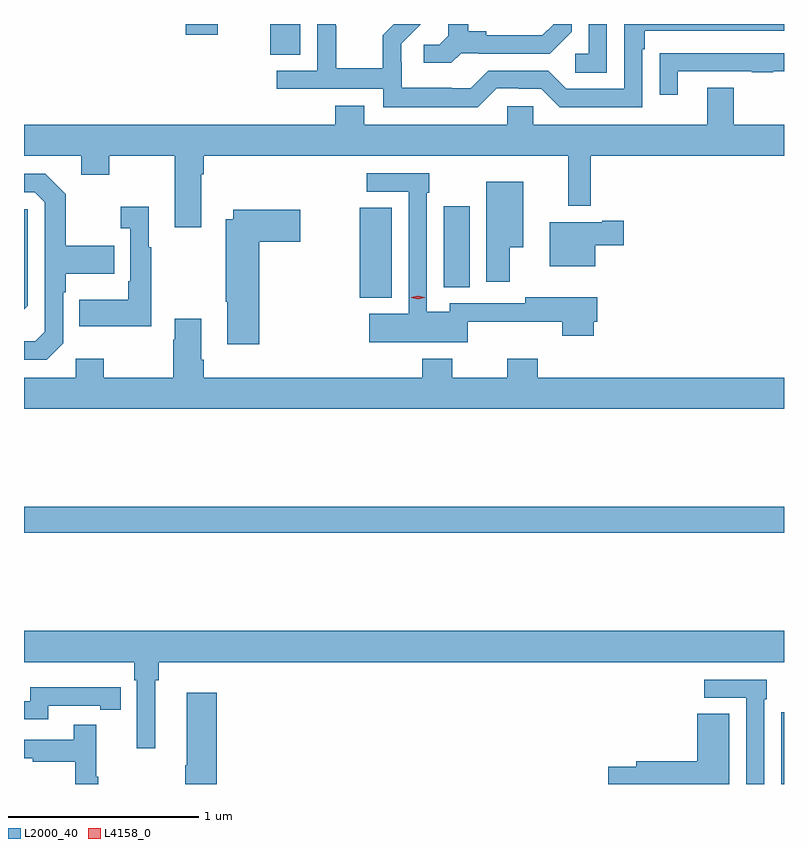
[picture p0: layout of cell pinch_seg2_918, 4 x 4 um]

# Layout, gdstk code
import gdstk
lib = gdstk.Library(unit=1e-6, precision=1e-09)
def R(c, l, rs):  # rectangles x0, y0, x1, y1
    for r in rs: c.add(gdstk.rectangle(r[:2], r[2:], *l))
def P(c, l, *ps):  # polygons
    for p in ps: c.add(gdstk.Polygon(p, *l))
L2000_40 = (2000, 40)
L4158_0 = (4158, 0)

pinch_seg2_918 = lib.new_cell('pinch_seg2_918')
R(pinch_seg2_918, L2000_40, [(267.257,660.314,267.272,660.691), (263.272,661.636,267.272,661.772), (265.04,662.873,265.207,663.347), (265.481,662.929,265.618,663.355), (264.569,664.153,264.727,664.314), (264.122,664.257,264.292,664.314)])
P(pinch_seg2_918, L2000_40, [(265.572,664.161),(265.666,664.161),(265.666,664.158),(266.038,664.158),(266.154,664.274),(266.154,664.314),(266.057,664.314),(266.057,664.311),(266,664.254),(265.705,664.254),(265.705,664.277),(265.609,664.277),(265.609,664.314),(265.505,664.314),(265.505,664.253),(265.458,664.206),(265.377,664.206),(265.377,664.109),(265.52,664.109)],
  [(266.34,664.314),(266.244,664.314),(266.244,664.158),(266.172,664.158),(266.172,664.057),(266.34,664.057)],
  [(265.761,663.975),(265.877,663.975),(265.877,663.972),(265.995,663.972),(266.091,663.876),(266.526,663.876),(266.526,664.181),(266.539,664.181),(266.539,664.278),(267.272,664.278),(267.272,664.314),(266.43,664.314),(266.43,663.972),(266.127,663.972),(266.031,664.068),(265.716,664.068),(265.623,663.975),(265.523,663.975),(265.523,663.979),(265.26,663.979),(265.26,664.113),(265.258,664.113),(265.258,664.21),(265.332,664.284),(265.331,664.285),(265.36,664.314),(265.218,664.314),(265.159,664.255),(265.159,664.081),(264.915,664.081),(264.915,664.304),(264.912,664.304),(264.912,664.314),(264.816,664.314),(264.816,664.068),(264.603,664.068),(264.603,663.972),(265.164,663.972),(265.164,663.875),(265.661,663.875)],
  [(266.713,664.065),(267.103,664.065),(267.103,664.06),(267.215,664.06),(267.215,664.065),(267.272,664.065),(267.272,664.161),(266.719,664.161),(266.719,664.16),(266.617,664.16),(266.617,663.942),(266.713,663.942)],
  [(265.953,663.882),(265.815,663.882),(265.815,663.784),(265.063,663.784),(265.063,663.883),(264.911,663.883),(264.911,663.784),(263.272,663.784),(263.272,663.62),(263.573,663.62),(263.573,663.521),(263.721,663.521),(263.721,663.62),(264.065,663.62),(264.065,663.243),(264.205,663.243),(264.205,663.524),(264.218,663.524),(264.218,663.62),(266.137,663.62),(266.137,663.357),(266.255,663.357),(266.255,663.62),(267.272,663.62),(267.272,663.784),(267.007,663.784),(267.007,663.979),(266.867,663.979),(266.867,663.784),(265.953,663.784)],
  [(265.608,662.747),(266.105,662.747),(266.105,662.672),(266.27,662.672),(266.27,662.746),(266.29,662.746),(266.29,662.875),(265.91,662.875),(265.91,662.844),(265.512,662.844),(265.512,662.8),(265.392,662.8),(265.392,663.425),(265.405,663.425),(265.405,663.528),(265.077,663.528),(265.077,663.432),(265.296,663.432),(265.296,662.788),(265.089,662.788),(265.089,662.639),(265.608,662.639)],
  [(263.478,662.634),(263.478,662.903),(263.491,662.903),(263.491,662.999),(263.747,662.999),(263.747,663.147),(263.491,663.147),(263.491,663.419),(263.385,663.525),(263.272,663.525),(263.272,663.429),(263.328,663.429),(263.382,663.375),(263.382,662.694),(263.331,662.643),(263.272,662.643),(263.272,662.547),(263.391,662.547)],
  [(265.828,663.14),(265.9,663.14),(265.9,663.484),(265.706,663.484),(265.706,662.958),(265.828,662.958)],
  [(263.941,663.139),(263.929,663.139),(263.929,663.352),(263.781,663.352),(263.781,663.239),(263.832,663.239),(263.832,662.959),(263.82,662.959),(263.82,662.863),(263.563,662.863),(263.563,662.723),(263.941,662.723)],
  [(263.292,662.832),(263.292,663.339),(263.272,663.339),(263.272,662.812)],
  [(264.509,663.167),(264.727,663.167),(264.727,663.337),(264.374,663.337),(264.374,663.286),(264.334,663.286),(264.334,662.851),(264.341,662.851),(264.341,662.628),(264.509,662.628)],
  [(266.278,663.149),(266.428,663.149),(266.428,663.279),(266.315,663.279),(266.315,663.271),(266.039,663.271),(266.039,663.038),(266.278,663.038)],
  [(267.272,662.452),(265.976,662.452),(265.976,662.551),(265.816,662.551),(265.816,662.452),(265.527,662.452),(265.527,662.551),(265.367,662.551),(265.367,662.452),(264.218,662.452),(264.218,662.548),(264.205,662.548),(264.205,662.764),(264.065,662.764),(264.065,662.651),(264.058,662.651),(264.058,662.452),(263.691,662.452),(263.691,662.551),(263.544,662.551),(263.544,662.452),(263.272,662.452),(263.272,662.288),(267.272,662.288)],
  [(263.272,660.956),(263.852,660.956),(263.852,660.86),(263.865,660.86),(263.865,660.501),(263.962,660.501),(263.962,660.86),(263.981,660.86),(263.981,660.956),(267.272,660.956),(267.272,661.12),(263.272,661.12)],
  [(267.168,660.761),(267.181,660.761),(267.181,660.864),(266.853,660.864),(266.853,660.768),(267.072,660.768),(267.072,660.314),(267.168,660.314)],
  [(263.4,660.726),(263.672,660.726),(263.672,660.706),(263.78,660.706),(263.78,660.822),(263.672,660.822),(263.672,660.823),(263.304,660.823),(263.304,660.75),(263.272,660.75),(263.272,660.654),(263.4,660.654)],
  [(264.287,660.793),(264.128,660.793),(264.128,660.413),(264.121,660.413),(264.121,660.314),(264.287,660.314)],
  [(266.983,660.683),(266.816,660.683),(266.816,660.434),(266.495,660.434),(266.495,660.404),(266.346,660.404),(266.346,660.314),(266.983,660.314)],
  [(263.662,660.353),(263.651,660.353),(263.651,660.625),(263.533,660.625),(263.533,660.546),(263.272,660.546),(263.272,660.45),(263.317,660.45),(263.317,660.43),(263.541,660.43),(263.541,660.314),(263.662,660.314)])
P(pinch_seg2_918, L4158_0, [(265.345,662.865),(265.31,662.874),(265.31,662.875),(265.31,662.875),(265.345,662.885),(265.38,662.875),(265.38,662.875),(265.38,662.874)])

lib.write_gds('pinch_seg2_918.gds')
